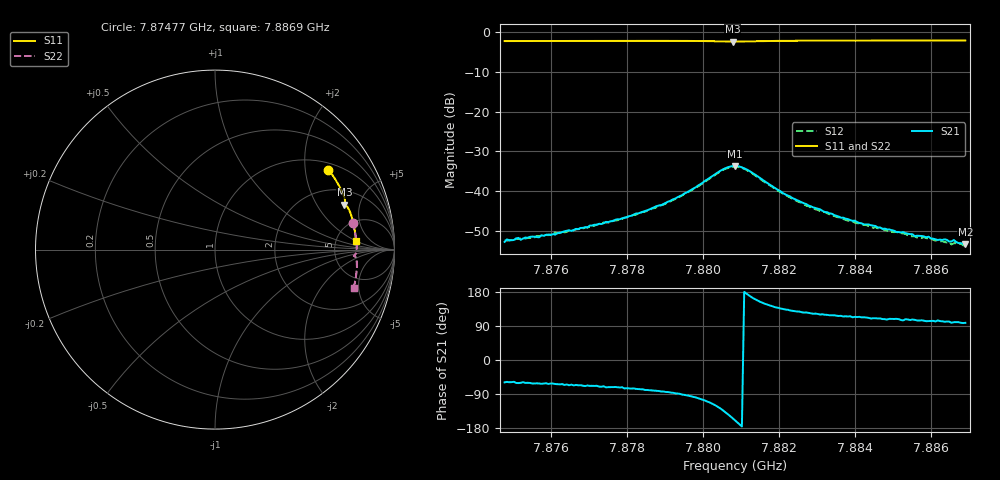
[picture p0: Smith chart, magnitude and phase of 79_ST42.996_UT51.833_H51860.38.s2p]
#  HZ  S  DB  R  50.00
! Rohde & Schwarz Vector Network Analyzer
! Rohde-Schwarz,ZNB20-2Port,1311601062101988,3.16
! Created: UTC 1/12/2023, 6:35:03 PM
! freq[Hz]  db:S11  ang:S11  db:S21  ang:S21  db:S12  ang:S12  db:S22  ang:S22
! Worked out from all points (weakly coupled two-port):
!   201 points, 7.87477 GHz to 7.8869 GHz, reference 50 ohm
!   highest |S21| = -33.61 dB at 7.88084 GHz (marker M1); lowest = -53.2 dB at 7.8869 GHz (marker M2)
!   lowest |S11| = -2.3 dB at 7.88078 GHz (marker M3), VSWR 7.44, Z = 148 + j178 ohm
!   |S11| at or under -10 dB: nowhere
!   |S22| runs from -2.2 to -1.9 dB; largest |S21 - S12| = 0.0013
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7.874773e9  -2.23 35.2  -52.74 -59.0  -52.34 -62.8  -2.14 11.1
7.874833e9  -2.23 35.0  -52.12 -57.7  -52.41 -62.7  -2.14 10.9
7.875683e9  -2.21 32.7  -51.58 -61.9  -51.30 -64.9  -2.11 9.0
7.876835e9  -2.20 29.5  -49.21 -67.8  -49.36 -70.6  -2.08 6.2
7.877381e9  -2.19 28.0  -48.04 -69.4  -47.83 -73.6  -2.07 5.0
7.877563e9  -2.19 27.6  -47.56 -71.7  -47.96 -74.4  -2.07 4.6
7.878837e9  -2.18 24.0  -43.58 -81.9  -43.76 -85.3  -2.06 1.5
7.879443e9  -2.19 22.2  -40.98 -91.2  -41.08 -93.4  -2.06 0.0
7.880535e9  -2.32 19.4  -34.45 -134.0  -34.59 -137.3  -2.18 -2.4
7.880777e9  -2.35 19.2  -33.65 -153.9  -33.86 -157.3  -2.23 -2.6
7.880838e9  -2.35 19.2  -33.61 -159.4  -33.83 -162.8  -2.23 -2.5
7.881141e9  -2.31 18.9  -34.48 175.1  -34.65 171.9  -2.19 -2.6
7.882112e9  -2.16 16.4  -40.54 134.4  -40.68 131.2  -2.02 -4.6
7.8829e9  -2.13 14.2  -44.07 122.0  -44.29 119.5  -1.98 -6.5
7.884235e9  -2.10 10.6  -48.36 112.8  -48.43 107.2  -1.95 -9.6
7.884902e9  -2.10 8.8  -49.61 108.6  -50.14 105.3  -1.94 -11.1
7.885569e9  -2.09 7.1  -51.30 106.0  -51.34 102.4  -1.93 -12.5
7.885933e9  -2.09 6.1  -51.42 102.7  -51.94 98.9  -1.93 -13.3
7.886479e9  -2.08 4.7  -52.65 101.5  -52.78 96.6  -1.92 -14.4
7.88654e9  -2.08 4.6  -52.59 98.0  -53.39 96.2  -1.92 -14.6
7.8866e9  -2.08 4.4  -52.26 99.9  -53.07 99.2  -1.92 -14.7
7.886903e9  -2.08 3.6  -53.25 98.1  -53.81 95.9  -1.92 -15.4
